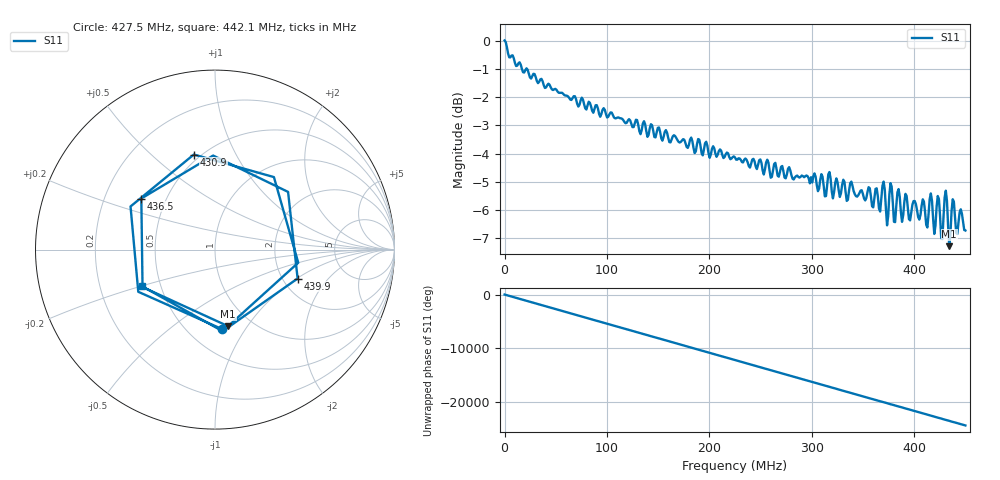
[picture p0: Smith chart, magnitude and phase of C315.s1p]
! NanoVNA-App
! Date: 2026-09-29 13:58:38
! Start: 50kHz Stop: 450MHz Points: 401
! S-Parameter data: F S11
# Hz S RI R 50
!  Frequency  S11_Real  S11_Imag
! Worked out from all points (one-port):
!   401 points, 50 kHz to 450 MHz, reference 50 ohm
!   lowest |S11| = -7.3 dB at 434.3 MHz (marker M1), VSWR 2.53, Z = 39 - j41 ohm
!   |S11| at or under -10 dB: nowhere
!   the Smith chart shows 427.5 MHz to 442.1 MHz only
!   S11 on the Smith chart (normalised r, x): 427.5 MHz: 0.72, -0.79; 430.9 MHz: 0.46, +0.69; 436.5 MHz: 0.36, +0.27; 439.9 MHz: 2.40, -1.02; 442.1 MHz: 0.39, -0.20
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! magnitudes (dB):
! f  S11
! 50 kHz  0.0
! 18.05 MHz  -1.1
! 56.29 MHz  -1.9
! 112.5 MHz  -2.7
! 168.8 MHz  -3.5
! 225 MHz  -4.1
! 281.3 MHz  -4.9
! 337.5 MHz  -5.0
! 370.1 MHz  -5.0
! 373.5 MHz  -6.5
! 376.9 MHz  -5.0
! 393.8 MHz  -5.9
! 396 MHz  -6.4
! 400.5 MHz  -5.7
! 405 MHz  -6.3
! 408.4 MHz  -5.6
! 411.8 MHz  -6.5
! 416.3 MHz  -5.4
! 419.6 MHz  -6.8
! 423 MHz  -5.5
! 427.5 MHz  -7.0
! 430.9 MHz  -5.3
! 434.3 MHz  -7.3
! 436.5 MHz  -6.0
! 439.9 MHz  -6.2
! 442.1 MHz  -6.8
! 445.5 MHz  -6.0
! 450 MHz  -6.7
